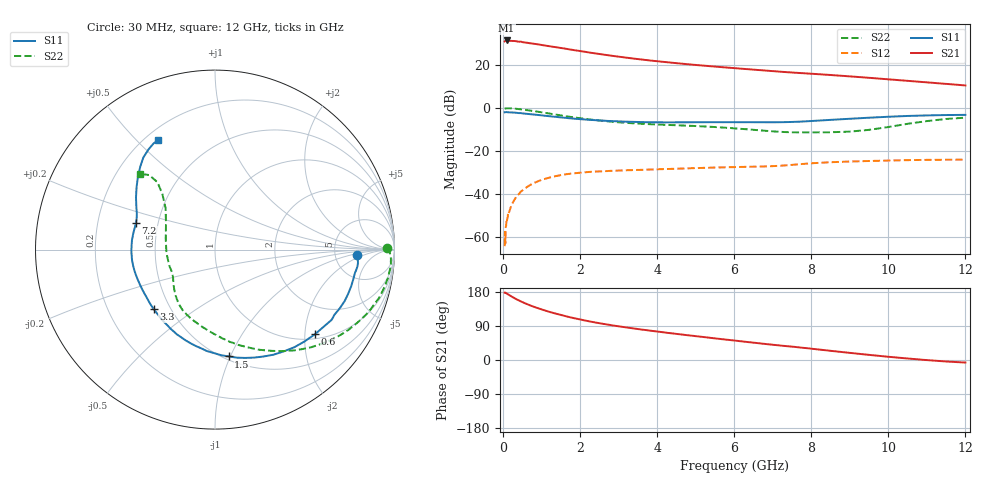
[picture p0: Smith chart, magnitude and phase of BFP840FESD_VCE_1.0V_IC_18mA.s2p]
! Infineon Technologies  Discrete & RF Semiconductors
! BFP840FESD
! VCE =  1.0 V,  IC =  18 mA
! Common Emitter S-Parameters:  May 2012
# GHz  S  MA  R  50
!  f  S11  S21  S12  S22
! GHz  MAG  ANG  MAG  ANG  MAG  ANG  MAG  ANG
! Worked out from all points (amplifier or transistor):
!   103 points, 30 MHz to 12 GHz, reference 50 ohm
!   highest |S21| = 31.5 dB at 80 MHz (marker M1)
!   |S21| within 3 dB of that: start of sweep to 1.31 GHz
!   unconditionally stable (mu >= 1): 5.827 GHz to end of sweep
!   at 400 MHz: K = 0.12, MSG = 35.5 dB, |S12| = -40.2 dB
!   at 3.7 GHz: K = 0.72, MSG = 25.5 dB, |S12| = -28.8 dB
!   at 12 GHz: K = 1.15, MAG = 15.0 dB, |S12| = -24.1 dB
!   S11 on the Smith chart (normalised r, x): 30 MHz: 8.26, -1.39; 600 MHz: 1.12, -2.26; 1.5 GHz: 0.53, -0.99; 3.3 GHz: 0.41, -0.34; 7.2 GHz: 0.37, +0.14; 12 GHz: 0.25, +0.58
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0.03  0.7895 -2.3  35.58 177.4  0.0006 75.2  0.9604 0.6
0.05  0.7962 -3.9  36.6 177.7  0.0007 86.8  0.9721 -0.7
0.08  0.7996 -6.0  37.38 175.7  0.0025 82.0  0.9803 -2.6
0.13  0.7898 -10.0  36.41 172.5  0.0034 85.3  0.9822 -5.6
0.3  0.7771 -21.7  36.24 162.5  0.0076 80.0  0.9606 -14.2
0.35  0.7679 -25.3  35.47 159.6  0.009 76.8  0.9519 -16.6
0.45  0.7588 -31.0  35.17 154.7  0.0112 74.1  0.9293 -20.9
0.5  0.745 -34.6  34.02 152.4  0.0121 72.6  0.9169 -23.2
0.6  0.73 -40.2  33.22 148.0  0.0141 69.3  0.8911 -27.3
0.8  0.701 -50.9  31.26 140.1  0.0179 63.9  0.841 -34.9
1  0.6701 -60.9  29.26 133.2  0.0212 59.0  0.7889 -42.0
1.5  0.6002 -82.7  24.9 118.7  0.0272 49.0  0.6682 -57.8
1.8  0.5669 -94.6  22.48 111.1  0.0297 44.5  0.6085 -66.4
2.1  0.539 -104.8  20.46 104.6  0.0315 40.7  0.559 -74.0
2.6  0.5051 -119.5  17.48 95.2  0.0335 36.2  0.4978 -85.0
3.3  0.4753 -136.1  14.44 84.4  0.0354 33.1  0.4423 -97.5
4.1  0.462 -151.7  11.99 73.8  0.0374 31.3  0.4077 -108.7
6.1  0.4651 178.4  8.328 50.2  0.042 30.3  0.3294 -132.5
7.2  0.4651 161.2  6.985 38.1  0.045 33.2  0.2775 -147.9
8.5  0.5272 146.6  5.855 24.2  0.0543 30.9  0.2712 -176.6
10.5  0.6501 127.9  4.283 4.0  0.0607 24.0  0.4268 133.4
12  0.6894 117.2  3.343 -6.8  0.0622 21.8  0.5929 134.6
